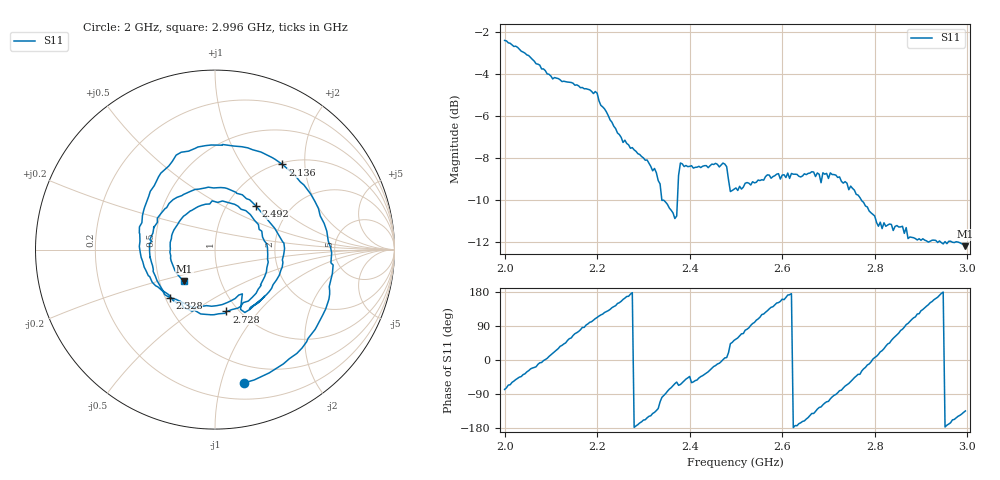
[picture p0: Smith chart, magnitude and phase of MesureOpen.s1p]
# MHz S MA R 50.0
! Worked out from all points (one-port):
!   250 points, 2 GHz to 2.996 GHz, reference 50 ohm
!   lowest |S11| = -12.2 dB at 2.996 GHz (marker M1), VSWR 1.65, Z = 33.5 - j12.5 ohm
!   |S11| at or under -10 dB: 2.34 GHz to 2.374 GHz (33.63 MHz wide, 1.43 % of centre); 2.771 GHz to end of sweep
!   S11 on the Smith chart (normalised r, x): 2 GHz: 0.34, -1.18; 2.136 GHz: 1.03, +1.54; 2.328 GHz: 0.53, -0.33; 2.492 GHz: 1.36, +0.74; 2.728 GHz: 0.88, -0.69; 2.996 GHz: 0.67, -0.25
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2000  0.7602 -77.8
2024  0.7366 -51.7
2056  0.6923 -23.5
2088  0.644 1.1
2128  0.6078 42.3
2136  0.605 51.7
2188  0.5748 101.0
2252  0.4463 155.0
2284  0.4135 -173.9
2328  0.3677 -133.5
2340  0.3158 -98.6
2372  0.2899 -58.3
2376  0.3622 -66.9
2436  0.3823 -34.5
2480  0.3801 6.4
2492  0.3335 46.4
2500  0.3382 55.2
2548  0.3531 108.4
2588  0.3647 150.2
2624  0.3647 -178.3
2688  0.3675 -118.3
2728  0.3506 -79.6
2748  0.3416 -57.0
2800  0.2899 6.5
2836  0.2767 51.7
2872  0.256 96.6
2928  0.2539 159.1
2996  0.2456 -134.4
